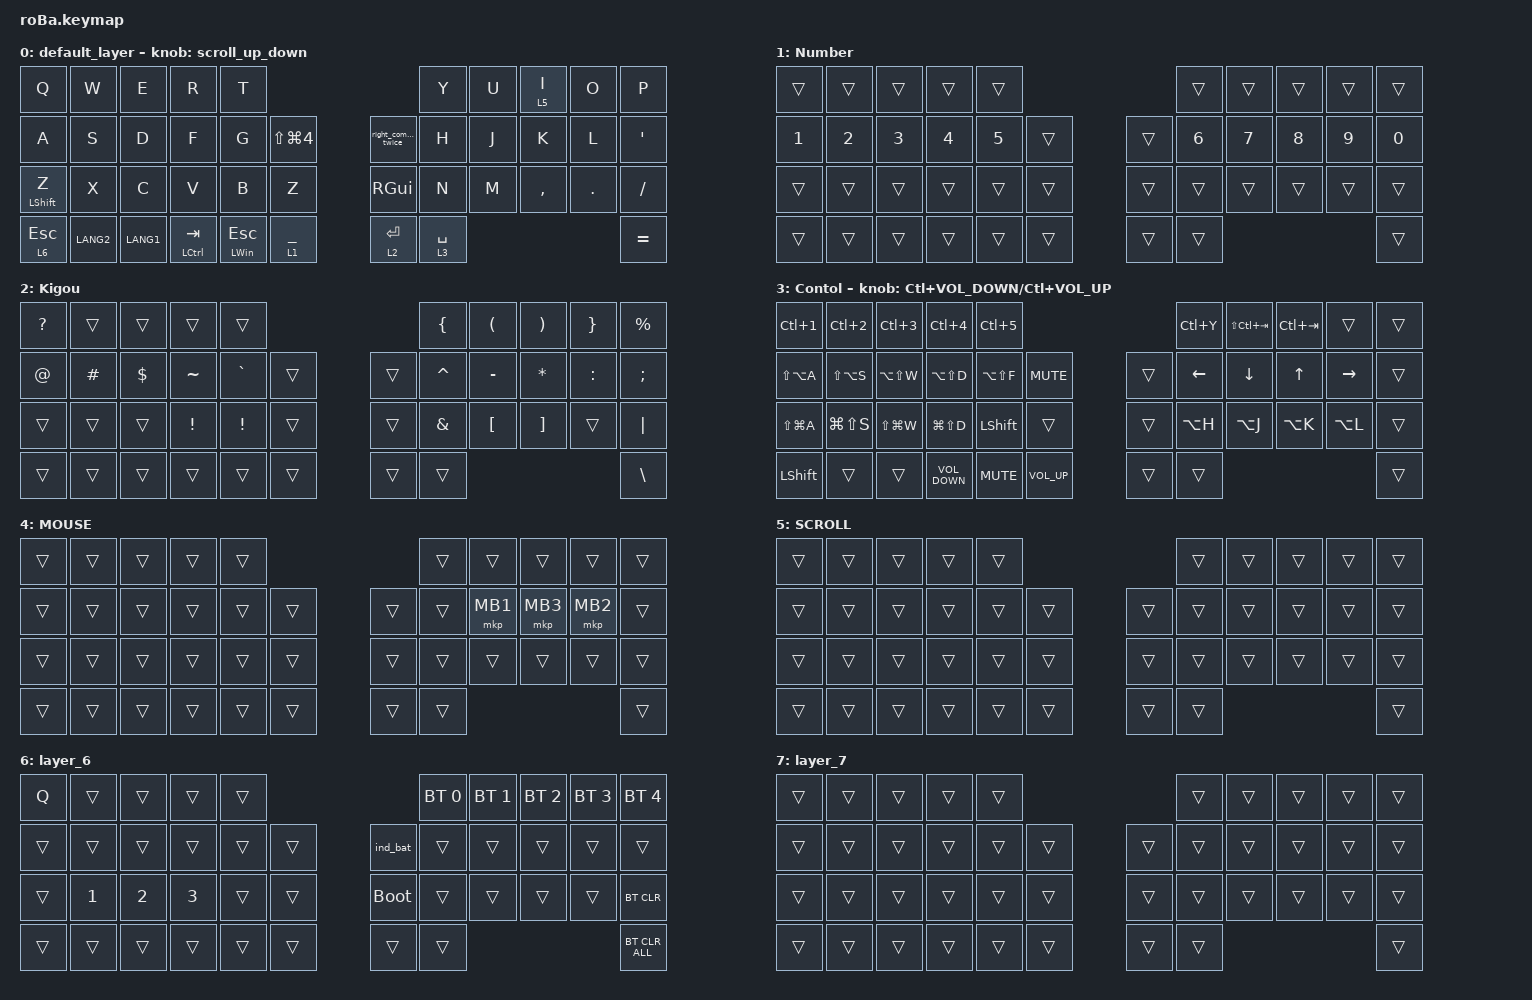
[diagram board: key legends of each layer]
#include <behaviors.dtsi>
#include <dt-bindings/zmk/bt.h>
#include <dt-bindings/zmk/keys.h>
#include <dt-bindings/zmk/pointing.h>
#include <behaviors/rgbled_widget.dtsi>

#define MOUSE 4
#define SCROLL 5
#define NUM 6
#define ZMK_MOUSE_DEFAULT_SCRL_VAL 100

&mt {
    flavor = "balanced";
    quick-tap-ms = <0>;
};

/ {
    combos {
        compatible = "zmk,combos";

        tab {
            bindings = <&kp TAB>;
            key-positions = <11 12>;
        };

        shift_tab {
            bindings = <&kp LS(TAB)>;
            key-positions = <12 13>;
        };

        muhennkann {
            bindings = <&to_layer_0 INT_MUHENKAN>;
            key-positions = <11 10>;
        };

        double_quotation {
            bindings = <&kp DOUBLE_QUOTES>;
            key-positions = <20 21>;
        };

        eq {
            bindings = <&kp EQUAL>;
            key-positions = <30 31>;
        };

        minus {
            bindings = <&kp MINUS>;
            key-positions = <18 19>;
        };

        kakko1 {
            bindings = <&kakko1>;
            key-positions = <18 13>;
        };

        kakko2 {
            bindings = <&kakko2>;
            key-positions = <12 19>;
        };

        kakko3 {
            bindings = <&kakko3>;
            key-positions = <11 20>;
        };
    };

    macros {
        to_layer_0: to_layer_0 {
            compatible = "zmk,behavior-macro-one-param";
            #binding-cells = <1>;
            bindings = <&to 0 &macro_param_1to1 &kp MACRO_PLACEHOLDER>;
            label = "TO_LAYER_0";
        };

        kakko1: kakko1 {
            compatible = "zmk,behavior-macro";
            #binding-cells = <0>;
            bindings =
                <&macro_tap>,
                <&kp LEFT_PARENTHESIS &kp RIGHT_PARENTHESIS>;

            label = "KAKKO1";
        };

        kakko2: kakko2 {
            compatible = "zmk,behavior-macro";
            #binding-cells = <0>;
            bindings = <&macro_tap>, <&kp LEFT_BRACE &kp RIGHT_BRACE>;

            label = "KAKKO2";
        };

        kakko3: kakko3 {
            compatible = "zmk,behavior-macro";
            #binding-cells = <0>;
            bindings = <&macro_tap>, <&kp LEFT_BRACKET &kp RIGHT_BRACKET>;

            label = "KAKKO3";
        };

        right_command_twice: right_command_twice {
            compatible = "zmk,behavior-macro";
            #binding-cells = <0>;
            bindings = <&kp RIGHT_GUI &kp RIGHT_GUI>;
            label = "RIGHT_COMMAND_TWICE";
        };
    };

    behaviors {
        lt_to_layer_0: lt_to_layer_0 {
            compatible = "zmk,behavior-hold-tap";
            label = "LAYER_TAP_TO_0";
            bindings = <&mo>, <&to_layer_0>;

            #binding-cells = <2>;
            tapping-term-ms = <200>;
        };

        scroll_up_down: scroll_up_down {
            compatible = "zmk,behavior-sensor-rotate";
            #sensor-binding-cells = <0>;
            bindings = <&msc SCRL_DOWN>, <&msc SCRL_UP>;

            // 追加: スクロールのタップ時間を設定 (20ms)

            tap-ms = <20>;
        };
    };

    keymap {
        compatible = "zmk,keymap";

        default_layer {
            bindings = <
&kp Q             &kp W      &kp E      &kp R          &kp T                                                                &kp Y        &kp U  &lt 5 I    &kp O    &kp P
&kp A             &kp S      &kp D      &kp F          &kp G                &kp LS(LG(NUMBER_4))      &right_command_twice  &kp H        &kp J  &kp K      &kp L    &kp SQT
&mt LEFT_SHIFT Z  &kp X      &kp C      &kp V          &kp B                &kp Z                     &kp RIGHT_GUI         &kp N        &kp M  &kp COMMA  &kp DOT  &kp SLASH
&lt 6 ESC         &kp LANG2  &kp LANG1  &mt LCTRL TAB  &mt LEFT_WIN ESCAPE  &lt 1 UNDER               &lt 2 ENTER           &lt 3 SPACE                             &kp EQUAL
            >;

            sensor-bindings = <&scroll_up_down>;
        };

        Number {
            bindings = <
&trans        &trans        &trans        &trans        &trans                            &trans        &trans        &trans        &trans        &trans
&kp NUMBER_1  &kp NUMBER_2  &kp NUMBER_3  &kp NUMBER_4  &kp NUMBER_5  &trans      &trans  &kp NUMBER_6  &kp NUMBER_7  &kp NUMBER_8  &kp NUMBER_9  &kp NUMBER_0
&trans        &trans        &trans        &trans        &trans        &trans      &trans  &trans        &trans        &trans        &trans        &trans
&trans        &trans        &trans        &trans        &trans        &trans      &trans  &trans                                                  &trans
            >;
        };

        Kigou {
            bindings = <
&kp QUESTION  &trans    &trans      &trans           &trans                               &kp LEFT_BRACE  &kp LEFT_PARENTHESIS  &kp RIGHT_PARENTHESIS  &kp RIGHT_BRACE  &kp PERCENT
&kp AT        &kp HASH  &kp DOLLAR  &kp TILDE        &kp GRAVE        &trans      &trans  &kp CARET       &kp MINUS             &kp ASTERISK           &kp COLON        &kp SEMI
&trans        &trans    &trans      &kp EXCLAMATION  &kp EXCLAMATION  &trans      &trans  &kp AMPERSAND   &kp LEFT_BRACKET      &kp RIGHT_BRACKET      &trans           &kp PIPE
&trans        &trans    &trans      &trans           &trans           &trans      &trans  &trans                                                                        &kp BACKSLASH
            >;
        };

        Contol {
            bindings = <
&kp LC(NUMBER_1)  &kp LC(NUMBER_2)  &kp LC(NUMBER_3)  &kp LC(NUMBER_4)   &kp LC(NUMBER_5)                            &kp LC(Y)       &kp LS(LC(TAB))  &kp LC(TAB)   &trans           &trans
&kp LS(LA(A))     &kp LS(LA(S))     &kp LA(LS(W))     &kp LA(LS(D))      &kp LA(LS(F))     &kp K_MUTE        &trans  &kp LEFT_ARROW  &kp DOWN         &kp UP_ARROW  &kp RIGHT_ARROW  &trans
&kp LS(LG(A))     &kp LG(LS(S))     &kp LS(LG(W))     &kp LG(LS(D))      &kp LEFT_SHIFT    &trans            &trans  &kp LA(H)       &kp LA(J)        &kp LA(K)     &kp LA(L)        &trans
&kp LSHIFT        &trans            &trans            &kp C_VOLUME_DOWN  &kp K_MUTE        &kp C_VOL_UP      &trans  &trans                                                          &trans
            >;

            sensor-bindings = <&inc_dec_kp LC(C_VOLUME_DOWN) LC(C_VOLUME_UP)>;
        };

        MOUSE {
            bindings = <
&trans  &trans  &trans  &trans  &trans                      &trans  &trans    &trans    &trans    &trans
&trans  &trans  &trans  &trans  &trans  &trans      &trans  &trans  &mkp MB1  &mkp MB3  &mkp MB2  &trans
&trans  &trans  &trans  &trans  &trans  &trans      &trans  &trans  &trans    &trans    &trans    &trans
&trans  &trans  &trans  &trans  &trans  &trans      &trans  &trans                                &trans
            >;
        };

        SCROLL {
            bindings = <
&trans  &trans  &trans  &trans  &trans                      &trans  &trans  &trans  &trans  &trans
&trans  &trans  &trans  &trans  &trans  &trans      &trans  &trans  &trans  &trans  &trans  &trans
&trans  &trans  &trans  &trans  &trans  &trans      &trans  &trans  &trans  &trans  &trans  &trans
&trans  &trans  &trans  &trans  &trans  &trans      &trans  &trans                          &trans
            >;
        };

        layer_6 {
            bindings = <
&kp Q   &trans        &trans        &trans        &trans                           &bt BT_SEL 0  &bt BT_SEL 1  &bt BT_SEL 2  &bt BT_SEL 3  &bt BT_SEL 4
&trans  &trans        &trans        &trans        &trans  &trans      &ind_bat     &trans        &trans        &trans        &trans        &trans
&trans  &kp NUMBER_1  &kp NUMBER_2  &kp NUMBER_3  &trans  &trans      &bootloader  &trans        &trans        &trans        &trans        &bt BT_CLR
&trans  &trans        &trans        &trans        &trans  &trans      &trans       &trans                                                  &bt BT_CLR_ALL
            >;
        };

        layer_7 {
            bindings = <
&trans  &trans  &trans  &trans  &trans                      &trans  &trans  &trans  &trans  &trans
&trans  &trans  &trans  &trans  &trans  &trans      &trans  &trans  &trans  &trans  &trans  &trans
&trans  &trans  &trans  &trans  &trans  &trans      &trans  &trans  &trans  &trans  &trans  &trans
&trans  &trans  &trans  &trans  &trans  &trans      &trans  &trans                          &trans
            >;
        };
    };
};
